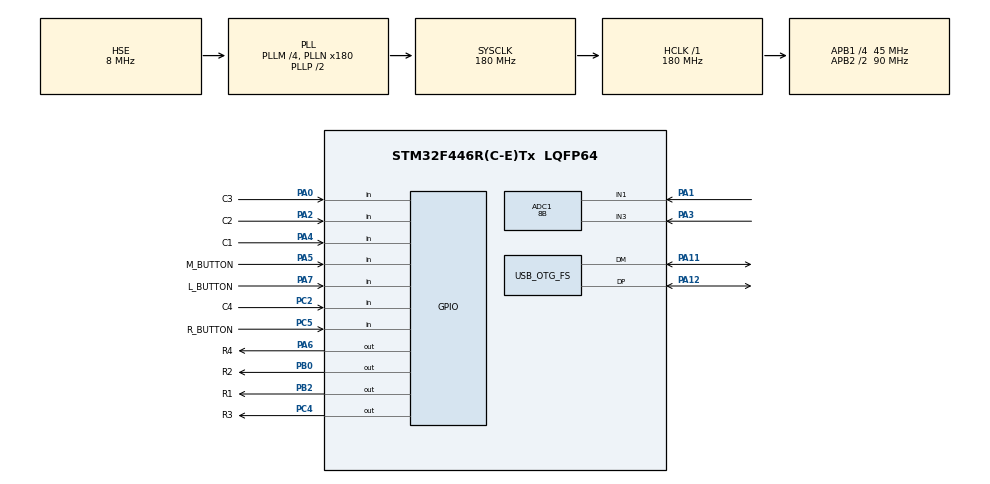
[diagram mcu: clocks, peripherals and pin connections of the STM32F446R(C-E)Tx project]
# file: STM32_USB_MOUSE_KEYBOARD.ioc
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ADC1.Channel-0\#ChannelRegularConversion=ADC_CHANNEL_1
ADC1.Channel-1\#ChannelRegularConversion=ADC_CHANNEL_3
ADC1.ContinuousConvMode=ENABLE
ADC1.DMAContinuousRequests=ENABLE
ADC1.EOCSelection=ADC_EOC_SEQ_CONV
ADC1.NbrOfConversion=2
ADC1.NbrOfConversionFlag=1
ADC1.Rank-0\#ChannelRegularConversion=1
ADC1.Rank-1\#ChannelRegularConversion=2
ADC1.Resolution=ADC_RESOLUTION_8B
ADC1.SamplingTime-0\#ChannelRegularConversion=ADC_SAMPLETIME_480CYCLES
ADC1.SamplingTime-1\#ChannelRegularConversion=ADC_SAMPLETIME_480CYCLES
ADC1.master=1
Dma.ADC1.0.Direction=DMA_PERIPH_TO_MEMORY
Dma.ADC1.0.FIFOMode=DMA_FIFOMODE_DISABLE
Dma.ADC1.0.Instance=DMA2_Stream0
Dma.ADC1.0.MemDataAlignment=DMA_MDATAALIGN_BYTE
Dma.ADC1.0.MemInc=DMA_MINC_ENABLE
Dma.ADC1.0.Mode=DMA_CIRCULAR
Dma.ADC1.0.PeriphDataAlignment=DMA_PDATAALIGN_BYTE
Dma.ADC1.0.PeriphInc=DMA_PINC_DISABLE
Dma.ADC1.0.Priority=DMA_PRIORITY_LOW
Dma.Request0=ADC1
Mcu.Family=STM32F4
Mcu.Name=STM32F446R(C-E)Tx
Mcu.Package=LQFP64
NVIC.DMA2_Stream0_IRQn=true\:0\:0\:false\:false\:true\:false\:true\:true
NVIC.OTG_FS_IRQn=true\:0\:0\:false\:false\:true\:false\:true\:true
NVIC.PriorityGroup=NVIC_PRIORITYGROUP_4
PA0-WKUP.GPIO_Label=C3
PA0-WKUP.GPIO_PuPd=GPIO_PULLUP
PA0-WKUP.Signal=GPIO_Input
PA1.Signal=ADCx_IN1
PA11.Mode=Device_Only
PA11.Signal=USB_OTG_FS_DM
PA12.Mode=Device_Only
PA12.Signal=USB_OTG_FS_DP
PA13.Mode=Serial_Wire
PA13.Signal=SYS_JTMS-SWDIO
PA14.Mode=Serial_Wire
PA14.Signal=SYS_JTCK-SWCLK
PA2.GPIO_Label=C2
PA2.GPIO_PuPd=GPIO_PULLUP
PA2.Signal=GPIO_Input
PA3.Signal=ADCx_IN3
PA4.GPIO_Label=C1
PA4.GPIO_PuPd=GPIO_PULLUP
PA4.Signal=GPIO_Input
PA5.GPIO_Label=M_BUTTON
PA5.GPIO_PuPd=GPIO_PULLUP
PA5.Signal=GPIO_Input
PA6.GPIO_Label=R4
PA6.PinState=GPIO_PIN_SET
PA6.Signal=GPIO_Output
PA7.GPIO_Label=L_BUTTON
PA7.GPIO_PuPd=GPIO_PULLUP
PA7.Signal=GPIO_Input
PB0.GPIO_Label=R2
PB0.PinState=GPIO_PIN_SET
PB0.Signal=GPIO_Output
PB2.GPIO_Label=R1
PB2.PinState=GPIO_PIN_SET
PB2.Signal=GPIO_Output
PC2.GPIO_Label=C4
PC2.GPIO_PuPd=GPIO_PULLUP
PC2.Signal=GPIO_Input
PC4.GPIO_Label=R3
PC4.PinState=GPIO_PIN_SET
PC4.Signal=GPIO_Output
PC5.GPIO_Label=R_BUTTON
PC5.GPIO_PuPd=GPIO_PULLUP
PC5.Signal=GPIO_Input
PH0-OSC_IN.Mode=HSE-External-Oscillator
PH0-OSC_IN.Signal=RCC_OSC_IN
PH1-OSC_OUT.Mode=HSE-External-Oscillator
PH1-OSC_OUT.Signal=RCC_OSC_OUT
ProjectManager.HeapSize=0x200
ProjectManager.StackSize=0x400
ProjectManager.TargetToolchain=STM32CubeIDE
RCC.AHBFreq_Value=180000000
RCC.APB1CLKDivider=RCC_HCLK_DIV4
RCC.APB1Freq_Value=45000000
RCC.APB1TimFreq_Value=90000000
RCC.APB2CLKDivider=RCC_HCLK_DIV2
RCC.APB2Freq_Value=90000000
RCC.APB2TimFreq_Value=180000000
RCC.CortexFreq_Value=180000000
RCC.HCLKFreq_Value=180000000
RCC.HSE_VALUE=8000000
RCC.PLLM=4
RCC.PLLN=180
RCC.PLLSAIM=8
RCC.PLLSAIP=RCC_PLLSAIP_DIV4
RCC.PLLSourceVirtual=RCC_PLLSOURCE_HSE
RCC.SYSCLKFreq_VALUE=180000000
RCC.SYSCLKSource=RCC_SYSCLKSOURCE_PLLCLK
RCC.USBCLockSelection=RCC_CLK48CLKSOURCE_PLLSAIP
RCC.USBFreq_Value=48000000
RCC.VCOOutputFreq_Value=360000000
SH.ADCx_IN1.0=ADC1_IN1,IN1
SH.ADCx_IN3.0=ADC1_IN3,IN3
USB_DEVICE.CLASS_NAME_FS=HID
USB_DEVICE.VirtualMode-HID_FS=Hid
USB_DEVICE.VirtualModeFS=Hid_FS
USB_OTG_FS.VirtualMode=Device_Only
VP_USB_DEVICE_VS_USB_DEVICE_HID_FS.Mode=HID_FS
board=custom

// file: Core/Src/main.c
/* USER CODE BEGIN Header */
/**
  ******************************************************************************
  * @file           : main.c
  * @brief          : Main program body
  ******************************************************************************
  * @attention
  *
  * Copyright (c) 2026 STMicroelectronics.
  * All rights reserved.
  *
  * This software is licensed under terms that can be found in the LICENSE file
  * in the root directory of this software component.
  * If no LICENSE file comes with this software, it is provided AS-IS.
  *
  ******************************************************************************
  */
/* USER CODE END Header */
#include "main.h"
#include "usb_device.h"

/* USER CODE BEGIN Includes */
#include "usbd_hid.h"
/* USER CODE END Includes */

ADC_HandleTypeDef hadc1;
DMA_HandleTypeDef hdma_adc1;

void SystemClock_Config(void);
static void MX_GPIO_Init(void);
static void MX_DMA_Init(void);
static void MX_ADC1_Init(void);

/* USER CODE BEGIN 0 */

extern USBD_HandleTypeDef hUsbDeviceFS;

int8_t Mouse_Buffer[5] = {0};

uint8_t ADC_Val[2];

void HAL_ADC_ConvCpltCallback(ADC_HandleTypeDef *hadc)
{
	if (ADC_Val[0] > 200) Mouse_Buffer[2] = 10;
	else if (ADC_Val[0] < 55) Mouse_Buffer[2] = -10;
	else Mouse_Buffer[2] = 0;

	if (ADC_Val[1] > 200) Mouse_Buffer[3] = 10;
	else if (ADC_Val[1] < 55) Mouse_Buffer[3] = -10;
	else Mouse_Buffer[3] = 0;
}

uint8_t Keyboard_Buffer[9] = {0};

uint8_t modifier = 0;
uint8_t keycode = 0;

void scanKeypad (void)
{
	modifier = keycode = 0;

	HAL_GPIO_WritePin(R1_GPIO_Port, R1_Pin, GPIO_PIN_RESET);
	HAL_GPIO_WritePin(R2_GPIO_Port, R2_Pin, GPIO_PIN_SET);
	HAL_GPIO_WritePin(R3_GPIO_Port, R3_Pin, GPIO_PIN_SET);
	HAL_GPIO_WritePin(R4_GPIO_Port, R4_Pin, GPIO_PIN_SET);
	HAL_Delay(1);
	if (HAL_GPIO_ReadPin(C1_GPIO_Port, C1_Pin) == GPIO_PIN_RESET) keycode = 0x1E;  // 1
	if (HAL_GPIO_ReadPin(C2_GPIO_Port, C2_Pin) == GPIO_PIN_RESET) keycode = 0x1F;  // 2
	if (HAL_GPIO_ReadPin(C3_GPIO_Port, C3_Pin) == GPIO_PIN_RESET) keycode = 0x20;  // 3
	if (HAL_GPIO_ReadPin(C4_GPIO_Port, C4_Pin) == GPIO_PIN_RESET) keycode = 0x04;  // a

	HAL_GPIO_WritePin(R1_GPIO_Port, R1_Pin, GPIO_PIN_SET);
	HAL_GPIO_WritePin(R2_GPIO_Port, R2_Pin, GPIO_PIN_RESET);
	HAL_GPIO_WritePin(R3_GPIO_Port, R3_Pin, GPIO_PIN_SET);
	HAL_GPIO_WritePin(R4_GPIO_Port, R4_Pin, GPIO_PIN_SET);
	HAL_Delay(1);
	if (HAL_GPIO_ReadPin(C1_GPIO_Port, C1_Pin) == GPIO_PIN_RESET) keycode = 0x21;  // 4
	if (HAL_GPIO_ReadPin(C2_GPIO_Port, C2_Pin) == GPIO_PIN_RESET) keycode = 0x22;  // 5
	if (HAL_GPIO_ReadPin(C3_GPIO_Port, C3_Pin) == GPIO_PIN_RESET) keycode = 0x23;  // 6
	if (HAL_GPIO_ReadPin(C4_GPIO_Port, C4_Pin) == GPIO_PIN_RESET) keycode = 0x05;  // b

	HAL_GPIO_WritePin(R1_GPIO_Port, R1_Pin, GPIO_PIN_SET);
	HAL_GPIO_WritePin(R2_GPIO_Port, R2_Pin, GPIO_PIN_SET);
	HAL_GPIO_WritePin(R3_GPIO_Port, R3_Pin, GPIO_PIN_RESET);
	HAL_GPIO_WritePin(R4_GPIO_Port, R4_Pin, GPIO_PIN_SET);
	HAL_Delay(1);
	if (HAL_GPIO_ReadPin(C1_GPIO_Port, C1_Pin) == GPIO_PIN_RESET) keycode = 0x24;  // 7
	if (HAL_GPIO_ReadPin(C2_GPIO_Port, C2_Pin) == GPIO_PIN_RESET) keycode = 0x25;  // 8
	if (HAL_GPIO_ReadPin(C3_GPIO_Port, C3_Pin) == GPIO_PIN_RESET) keycode = 0x26;  // 9
	if (HAL_GPIO_ReadPin(C4_GPIO_Port, C4_Pin) == GPIO_PIN_RESET) keycode = 0x06;  // c

	HAL_GPIO_WritePin(R1_GPIO_Port, R1_Pin, GPIO_PIN_SET);
	HAL_GPIO_WritePin(R2_GPIO_Port, R2_Pin, GPIO_PIN_SET);
	HAL_GPIO_WritePin(R3_GPIO_Port, R3_Pin, GPIO_PIN_SET);
	HAL_GPIO_WritePin(R4_GPIO_Port, R4_Pin, GPIO_PIN_RESET);
	HAL_Delay(1);
	if (HAL_GPIO_ReadPin(C1_GPIO_Port, C1_Pin) == GPIO_PIN_RESET) modifier |= 1<<1;  // L-SHIFT
	if (HAL_GPIO_ReadPin(C2_GPIO_Port, C2_Pin) == GPIO_PIN_RESET) keycode = 0x2C;  // 0  SPACE
	if (HAL_GPIO_ReadPin(C3_GPIO_Port, C3_Pin) == GPIO_PIN_RESET) keycode = 0x2A;  // BACKSPACE
	if (HAL_GPIO_ReadPin(C4_GPIO_Port, C4_Pin) == GPIO_PIN_RESET) keycode = 0x07;  // d
}

/* USER CODE END 0 */

int main(void)
{

  /* MCU Configuration--------------------------------------------------------*/

  /* Reset of all peripherals, Initializes the Flash interface and the Systick. */
  HAL_Init();

  /* Configure the system clock */
  SystemClock_Config();

  /* Initialize all configured peripherals */
  MX_GPIO_Init();
  MX_DMA_Init();
  MX_ADC1_Init();
  MX_USB_DEVICE_Init();
  /* USER CODE BEGIN 2 */

  HAL_ADC_Start_DMA(&hadc1, (uint32_t *)ADC_Val, 2);

  /* USER CODE END 2 */

  /* Infinite loop */
  while (1)
  {

    /* USER CODE BEGIN 3 */

	  Mouse_Buffer[0] = 0x01;  // Report ID = 1 for Mouse

	  if (HAL_GPIO_ReadPin(L_BUTTON_GPIO_Port, L_BUTTON_Pin) == 0)
	  {
		  Mouse_Buffer[1] = 0x01;
	  }

	  if (HAL_GPIO_ReadPin(R_BUTTON_GPIO_Port, R_BUTTON_Pin) == 0)
	  {
		  Mouse_Buffer[1] = 0x02;
	  }

	  if (HAL_GPIO_ReadPin(M_BUTTON_GPIO_Port, M_BUTTON_Pin) == 0)
	  {
		  Mouse_Buffer[1] = 0x04;
	  }

	  USBD_HID_SendReport(&hUsbDeviceFS, (uint8_t *)Mouse_Buffer, 5);
	  Mouse_Buffer[1] = 0;
	  HAL_Delay(5);

	  scanKeypad();
	  Keyboard_Buffer[0] = 0x02;  // Report ID = 2 for Keyboard
	  Keyboard_Buffer[1] = modifier;
	  Keyboard_Buffer[3] = keycode;

	  USBD_HID_SendReport(&hUsbDeviceFS, (uint8_t *)Keyboard_Buffer, 9);
	  HAL_Delay(5);
  }
  /* USER CODE END 3 */
}

void SystemClock_Config(void)
{
  RCC_OscInitTypeDef RCC_OscInitStruct = {0};
  RCC_ClkInitTypeDef RCC_ClkInitStruct = {0};

  /** Configure the main internal regulator output voltage
  */
  __HAL_RCC_PWR_CLK_ENABLE();
  __HAL_PWR_VOLTAGESCALING_CONFIG(PWR_REGULATOR_VOLTAGE_SCALE1);

  /** Initializes the RCC Oscillators according to the specified parameters
  * in the RCC_OscInitTypeDef structure.
  */
  RCC_OscInitStruct.OscillatorType = RCC_OSCILLATORTYPE_HSE;
  RCC_OscInitStruct.HSEState = RCC_HSE_ON;
  RCC_OscInitStruct.PLL.PLLState = RCC_PLL_ON;
  RCC_OscInitStruct.PLL.PLLSource = RCC_PLLSOURCE_HSE;
  RCC_OscInitStruct.PLL.PLLM = 4;
  RCC_OscInitStruct.PLL.PLLN = 180;
  RCC_OscInitStruct.PLL.PLLP = RCC_PLLP_DIV2;
  RCC_OscInitStruct.PLL.PLLQ = 2;
  RCC_OscInitStruct.PLL.PLLR = 2;
  if (HAL_RCC_OscConfig(&RCC_OscInitStruct) != HAL_OK)
  {
    Error_Handler();
  }

  /** Activate the Over-Drive mode
  */
  if (HAL_PWREx_EnableOverDrive() != HAL_OK)
  {
    Error_Handler();
  }

  /** Initializes the CPU, AHB and APB buses clocks
  */
  RCC_ClkInitStruct.ClockType = RCC_CLOCKTYPE_HCLK|RCC_CLOCKTYPE_SYSCLK
                              |RCC_CLOCKTYPE_PCLK1|RCC_CLOCKTYPE_PCLK2;
  RCC_ClkInitStruct.SYSCLKSource = RCC_SYSCLKSOURCE_PLLCLK;
  RCC_ClkInitStruct.AHBCLKDivider = RCC_SYSCLK_DIV1;
  RCC_ClkInitStruct.APB1CLKDivider = RCC_HCLK_DIV4;
  RCC_ClkInitStruct.APB2CLKDivider = RCC_HCLK_DIV2;

  if (HAL_RCC_ClockConfig(&RCC_ClkInitStruct, FLASH_LATENCY_5) != HAL_OK)
  {
    Error_Handler();
  }
}

static void MX_ADC1_Init(void)
{

  ADC_ChannelConfTypeDef sConfig = {0};

  /** Configure the global features of the ADC (Clock, Resolution, Data Alignment and number of conversion)
  */
  hadc1.Instance = ADC1;
  hadc1.Init.ClockPrescaler = ADC_CLOCK_SYNC_PCLK_DIV4;
  hadc1.Init.Resolution = ADC_RESOLUTION_8B;
  hadc1.Init.ScanConvMode = ENABLE;
  hadc1.Init.ContinuousConvMode = ENABLE;
  hadc1.Init.DiscontinuousConvMode = DISABLE;
  hadc1.Init.ExternalTrigConvEdge = ADC_EXTERNALTRIGCONVEDGE_NONE;
  hadc1.Init.ExternalTrigConv = ADC_SOFTWARE_START;
  hadc1.Init.DataAlign = ADC_DATAALIGN_RIGHT;
  hadc1.Init.NbrOfConversion = 2;
  hadc1.Init.DMAContinuousRequests = ENABLE;
  hadc1.Init.EOCSelection = ADC_EOC_SEQ_CONV;
  if (HAL_ADC_Init(&hadc1) != HAL_OK)
  {
    Error_Handler();
  }

  /** Configure for the selected ADC regular channel its corresponding rank in the sequencer and its sample time.
  */
  sConfig.Channel = ADC_CHANNEL_1;
  sConfig.Rank = 1;
  sConfig.SamplingTime = ADC_SAMPLETIME_480CYCLES;
  if (HAL_ADC_ConfigChannel(&hadc1, &sConfig) != HAL_OK)
  {
    Error_Handler();
  }

  /** Configure for the selected ADC regular channel its corresponding rank in the sequencer and its sample time.
  */
  sConfig.Channel = ADC_CHANNEL_3;
  sConfig.Rank = 2;
  if (HAL_ADC_ConfigChannel(&hadc1, &sConfig) != HAL_OK)
  {
    Error_Handler();
  }

}

static void MX_DMA_Init(void)
{

  /* DMA controller clock enable */
  __HAL_RCC_DMA2_CLK_ENABLE();

  /* DMA interrupt init */
  /* DMA2_Stream0_IRQn interrupt configuration */
  HAL_NVIC_SetPriority(DMA2_Stream0_IRQn, 0, 0);
  HAL_NVIC_EnableIRQ(DMA2_Stream0_IRQn);

}

static void MX_GPIO_Init(void)
{
  GPIO_InitTypeDef GPIO_InitStruct = {0};

  /* GPIO Ports Clock Enable */
  __HAL_RCC_GPIOH_CLK_ENABLE();
  __HAL_RCC_GPIOC_CLK_ENABLE();
  __HAL_RCC_GPIOA_CLK_ENABLE();
  __HAL_RCC_GPIOB_CLK_ENABLE();

  /*Configure GPIO pin Output Level */
  HAL_GPIO_WritePin(R4_GPIO_Port, R4_Pin, GPIO_PIN_SET);

  /*Configure GPIO pin Output Level */
  HAL_GPIO_WritePin(R3_GPIO_Port, R3_Pin, GPIO_PIN_SET);

  /*Configure GPIO pin Output Level */
  HAL_GPIO_WritePin(GPIOB, R2_Pin|R1_Pin, GPIO_PIN_SET);

  /*Configure GPIO pins : C4_Pin R_BUTTON_Pin */
  GPIO_InitStruct.Pin = C4_Pin|R_BUTTON_Pin;
  GPIO_InitStruct.Mode = GPIO_MODE_INPUT;
  GPIO_InitStruct.Pull = GPIO_PULLUP;
  HAL_GPIO_Init(GPIOC, &GPIO_InitStruct);

  /*Configure GPIO pins : C3_Pin C2_Pin C1_Pin M_BUTTON_Pin
                           L_BUTTON_Pin */
  GPIO_InitStruct.Pin = C3_Pin|C2_Pin|C1_Pin|M_BUTTON_Pin
                          |L_BUTTON_Pin;
  GPIO_InitStruct.Mode = GPIO_MODE_INPUT;
  GPIO_InitStruct.Pull = GPIO_PULLUP;
  HAL_GPIO_Init(GPIOA, &GPIO_InitStruct);

  /*Configure GPIO pin : R4_Pin */
  GPIO_InitStruct.Pin = R4_Pin;
  GPIO_InitStruct.Mode = GPIO_MODE_OUTPUT_PP;
  GPIO_InitStruct.Pull = GPIO_NOPULL;
  GPIO_InitStruct.Speed = GPIO_SPEED_FREQ_LOW;
  HAL_GPIO_Init(R4_GPIO_Port, &GPIO_InitStruct);

  /*Configure GPIO pin : R3_Pin */
  GPIO_InitStruct.Pin = R3_Pin;
  GPIO_InitStruct.Mode = GPIO_MODE_OUTPUT_PP;
  GPIO_InitStruct.Pull = GPIO_NOPULL;
  GPIO_InitStruct.Speed = GPIO_SPEED_FREQ_LOW;
  HAL_GPIO_Init(R3_GPIO_Port, &GPIO_InitStruct);

  /*Configure GPIO pins : R2_Pin R1_Pin */
  GPIO_InitStruct.Pin = R2_Pin|R1_Pin;
  GPIO_InitStruct.Mode = GPIO_MODE_OUTPUT_PP;
  GPIO_InitStruct.Pull = GPIO_NOPULL;
  GPIO_InitStruct.Speed = GPIO_SPEED_FREQ_LOW;
  HAL_GPIO_Init(GPIOB, &GPIO_InitStruct);

}

void Error_Handler(void)
{
  __disable_irq();
  while (1)
  {
  }
}
